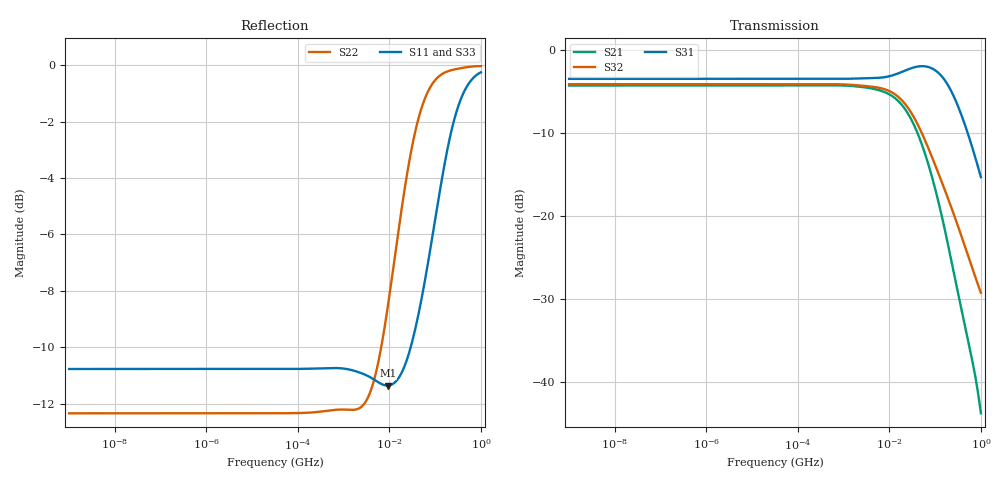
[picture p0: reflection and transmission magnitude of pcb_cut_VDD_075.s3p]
! Touchstone file exported from Ansys Full-Wave Spice
! Project: 0000_PSI_S-parameter_Sweep
!  Design: unknown
! Creation time: Thu Jun 12 21:04:01 2025
! Notes: ! Touchstone(R) file created by SIwave 2025 R1
!  : ! Touchstone(R) file created on Thu Jun 12 21:04:01 2025
# HZ S RI R 0.1
! Modal data exported
! Port[1] = PMIC_SOC_0P75VSOC
! Port[2] = PORT_1_U1_GRP_0_1_SOC_0P75VSOC_U1_GRP_0_1_GND
! Port[3] = SOC_0P75VSOC_C685_1
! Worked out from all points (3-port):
!   420 points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, 1 Hz to 1 GHz, reference 0.1 ohm
!   strongest paths, dB at 1 Hz, 3.687 kHz, 11.66 MHz, 482.9 MHz, 1 GHz:
!     S31: -3.4, -3.4, -3.0, -9.5, -15.3
!     S32: -4.1, -4.1, -5.1, -24.2, -29.2
!     S21: -4.2, -4.2, -5.5, -34.0, -43.7
!   lowest |S11| = -11.4 dB at 9.261 MHz (marker M1), VSWR 1.74, Z = 0.0623 + j0.0233 ohm
!   |S11| at or under -10 dB: start of sweep to 29.22 MHz
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1  -0.2894 2.35e-08  0.6148 -2.66e-08  0.6746 3.08e-09
   0.6148 -2.66e-08  -0.2415 5.23e-08  0.6267 -2.57e-08
   0.6746 3.08e-09  0.6267 -2.57e-08  -0.3012 2.26e-08
31622.8  -0.2894 0.000743  0.6148 -0.000842  0.6746 9.78e-05
         0.6148 -0.000842  -0.2415 0.00166  0.6267 -0.000813
         0.6746 9.78e-05  0.6267 -0.000813  -0.3012 0.000716
1079780  -0.288 0.0304  0.613 -0.0361  0.675 0.00573
         0.613 -0.0361  -0.2361 0.0659  0.6231 -0.0298
         0.675 0.00573  0.6231 -0.0298  -0.2981 0.024
3686950  -0.2653 0.0903  0.5843 -0.1029  0.6809 0.0125
         0.5843 -0.1029  -0.1864 0.1833  0.6019 -0.0806
         0.6809 0.0125  0.6019 -0.0806  -0.283 0.0679
9261190  -0.2076 0.1733  0.5118 -0.2016  0.6957 0.0282
         0.5118 -0.2016  -0.0615 0.3688  0.5497 -0.1673
         0.6957 0.0282  0.5497 -0.1673  -0.2455 0.139
2.92864e7  -0.0315 0.3149  0.2517 -0.2971  0.7797 -0.0182
           0.2517 -0.2971  0.4144 0.5617  0.3338 -0.2653
           0.7797 -0.0182  0.3338 -0.2653  -0.1138 0.2828
1e8  0.2903 0.446  0.0109 -0.1466  0.6983 -0.3004
     0.0109 -0.1466  0.8849 0.32  0.1046 -0.1754
     0.6983 -0.3004  0.1046 -0.1754  0.1974 0.4743
2.44199e8  0.6432 0.4484  -0.00948 -0.0479  0.3654 -0.4023
           -0.00948 -0.0479  0.9712 0.1423  0.038 -0.0997
           0.3654 -0.4023  0.038 -0.0997  0.5968 0.4977
4.82873e8  0.8565 0.319  -0.00377 -0.0196  0.146 -0.302
           -0.00377 -0.0196  0.9894 0.0699  0.0145 -0.0603
           0.146 -0.302  0.0145 -0.0603  0.8404 0.3534
1e9  0.9569 0.168  -0.00138 -0.00635  0.0428 -0.167
     -0.00138 -0.00635  0.9959 0.0173  0.00379 -0.0345
     0.0428 -0.167  0.00379 -0.0345  0.9529 0.1797
